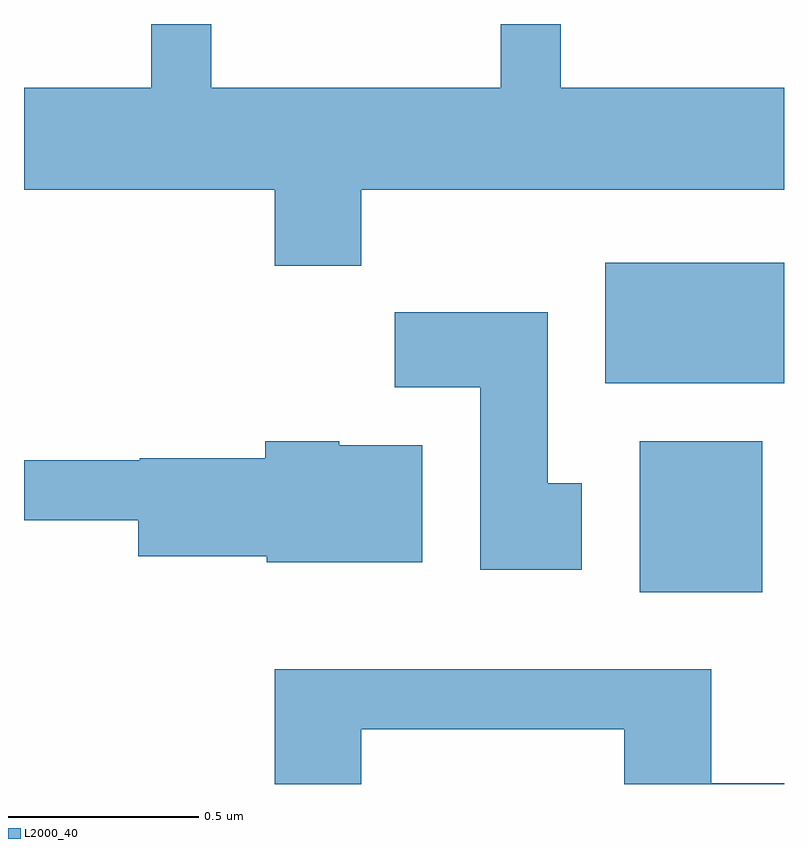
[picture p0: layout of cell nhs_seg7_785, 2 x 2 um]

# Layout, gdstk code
import gdstk
lib = gdstk.Library(unit=1e-6, precision=1e-09)
def R(c, l, rs):  # rectangles x0, y0, x1, y1
    for r in rs: c.add(gdstk.rectangle(r[:2], r[2:], *l))
def P(c, l, *ps):  # polygons
    for p in ps: c.add(gdstk.Polygon(p, *l))
L2000_40 = (2000, 40)

nhs_seg7_785 = lib.new_cell('nhs_seg7_785')
R(nhs_seg7_785, L2000_40, [(192.231,1768.756,192.554,1769.154), (192.141,1769.306,192.611,1769.624)])
P(nhs_seg7_785, L2000_40, [(191.499,1769.816),(192.611,1769.816),(192.611,1770.084),(192.024,1770.084),(192.024,1770.252),(191.866,1770.252),(191.866,1770.084),(191.104,1770.084),(191.104,1770.252),(190.946,1770.252),(190.946,1770.084),(190.611,1770.084),(190.611,1769.816),(191.271,1769.816),(191.271,1769.616),(191.499,1769.616)],
  [(192.079,1769.044),(191.989,1769.044),(191.989,1769.494),(191.586,1769.494),(191.586,1769.296),(191.811,1769.296),(191.811,1768.816),(192.079,1768.816)],
  [(191.659,1769.144),(191.44,1769.144),(191.44,1769.154),(191.246,1769.154),(191.246,1769.109),(190.915,1769.109),(190.915,1769.104),(190.611,1769.104),(190.611,1768.946),(190.911,1768.946),(190.911,1768.851),(191.25,1768.851),(191.25,1768.836),(191.659,1768.836)],
  [(191.499,1768.396),(192.191,1768.396),(192.191,1768.252),(192.611,1768.252),(192.611,1768.254),(192.419,1768.254),(192.419,1768.554),(191.271,1768.554),(191.271,1768.252),(191.499,1768.252)])

lib.write_gds('nhs_seg7_785.gds')
